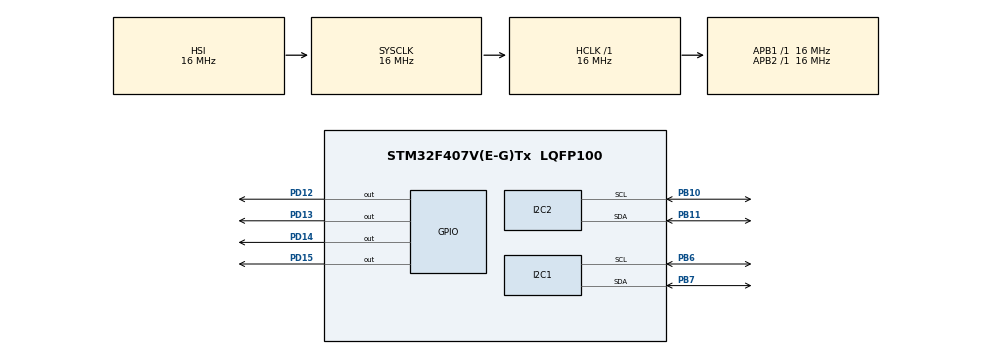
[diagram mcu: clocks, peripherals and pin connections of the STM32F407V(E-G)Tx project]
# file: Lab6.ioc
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I2C1.OwnAddress=0xfa
I2C2.OwnAddress=0xfa
Mcu.Family=STM32F4
Mcu.Name=STM32F407V(E-G)Tx
Mcu.Package=LQFP100
NVIC.PriorityGroup=NVIC_PRIORITYGROUP_4
PA13.Mode=Trace_Asynchronous_SW
PA13.Signal=SYS_JTMS-SWDIO
PA14.Mode=Trace_Asynchronous_SW
PA14.Signal=SYS_JTCK-SWCLK
PB10.GPIO_Pu=GPIO_PULLUP
PB10.Mode=I2C
PB10.Signal=I2C2_SCL
PB11.GPIO_Pu=GPIO_PULLUP
PB11.Mode=I2C
PB11.Signal=I2C2_SDA
PB3.Mode=Trace_Asynchronous_SW
PB3.Signal=SYS_JTDO-SWO
PB6.GPIO_Pu=GPIO_PULLUP
PB6.Mode=I2C
PB6.Signal=I2C1_SCL
PB7.GPIO_Pu=GPIO_PULLUP
PB7.Mode=I2C
PB7.Signal=I2C1_SDA
PD12.Signal=GPIO_Output
PD13.Signal=GPIO_Output
PD14.Signal=GPIO_Output
PD15.Signal=GPIO_Output
ProjectManager.HeapSize=0x200
ProjectManager.StackSize=0x400
ProjectManager.TargetToolchain=STM32CubeIDE
RCC.AHBFreq_Value=16000000
RCC.APB1Freq_Value=16000000
RCC.APB2Freq_Value=16000000
RCC.CortexFreq_Value=16000000
RCC.HSE_VALUE=25000000
RCC.HSI_VALUE=16000000
RCC.LSE_VALUE=32768
RCC.SYSCLKFreq_VALUE=16000000
RCC.VCOOutputFreq_Value=192000000
board=custom

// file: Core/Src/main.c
/* USER CODE BEGIN Header */
/**
  ******************************************************************************
  * @file           : main.c
  * @brief          : Main program body
  ******************************************************************************
  * @attention
  *
  * Copyright (c) 2024 STMicroelectronics.
  * All rights reserved.
  *
  * This software is licensed under terms that can be found in the LICENSE file
  * in the root directory of this software component.
  * If no LICENSE file comes with this software, it is provided AS-IS.
  *
  ******************************************************************************
  */
/* USER CODE END Header */
#include "main.h"

I2C_HandleTypeDef hi2c1;
I2C_HandleTypeDef hi2c2;

/* USER CODE BEGIN PV */
uint8_t rxData;
int uzdNr = 2;
uint8_t rxBuffer[3];
/* USER CODE END PV */

void SystemClock_Config(void);
static void MX_GPIO_Init(void);
static void MX_I2C2_Init(void);
static void MX_I2C1_Init(void);

int main(void)
{

  /* MCU Configuration--------------------------------------------------------*/

  /* Reset of all peripherals, Initializes the Flash interface and the Systick. */
  HAL_Init();

  /* Configure the system clock */
  SystemClock_Config();

  /* Initialize all configured peripherals */
  MX_GPIO_Init();
  MX_I2C2_Init();
  MX_I2C1_Init();

  /* Infinite loop */
  /* USER CODE BEGIN WHILE */
  while (1) {
	  if(uzdNr == 1){
		  if(HAL_I2C_Slave_Receive(&hi2c2, &rxData, 1, 10) == HAL_OK) {
			  HAL_GPIO_WritePin(GPIOD, GPIO_PIN_12, (rxData & 0x01) ? GPIO_PIN_SET : GPIO_PIN_RESET);
			  HAL_GPIO_WritePin(GPIOD, GPIO_PIN_13, (rxData & 0x02) ? GPIO_PIN_SET : GPIO_PIN_RESET);
			  HAL_GPIO_WritePin(GPIOD, GPIO_PIN_14, (rxData & 0x04) ? GPIO_PIN_SET : GPIO_PIN_RESET);
			  HAL_GPIO_WritePin(GPIOD, GPIO_PIN_15, (rxData & 0x08) ? GPIO_PIN_SET : GPIO_PIN_RESET);
			}
	  }else if(uzdNr == 2){
		  if(HAL_I2C_Slave_Receive(&hi2c1, rxBuffer, 3, 10) == HAL_OK) {
		      HAL_GPIO_WritePin(GPIOD, GPIO_PIN_12, (rxBuffer[0] & 0x01) ? GPIO_PIN_SET : GPIO_PIN_RESET);
		      HAL_GPIO_WritePin(GPIOD, GPIO_PIN_13, (rxBuffer[0] & 0x02) ? GPIO_PIN_SET : GPIO_PIN_RESET);

		      HAL_GPIO_WritePin(GPIOD, GPIO_PIN_14, (rxBuffer[1] & 0x01) ? GPIO_PIN_SET : GPIO_PIN_RESET);

		      HAL_GPIO_WritePin(GPIOD, GPIO_PIN_15, (rxBuffer[2] & 0x01) ? GPIO_PIN_SET : GPIO_PIN_RESET);
		  }

	  }
    /* USER CODE END WHILE */

  }
}

void SystemClock_Config(void)
{
  RCC_OscInitTypeDef RCC_OscInitStruct = {0};
  RCC_ClkInitTypeDef RCC_ClkInitStruct = {0};

  /** Configure the main internal regulator output voltage
  */
  __HAL_RCC_PWR_CLK_ENABLE();
  __HAL_PWR_VOLTAGESCALING_CONFIG(PWR_REGULATOR_VOLTAGE_SCALE1);

  /** Initializes the RCC Oscillators according to the specified parameters
  * in the RCC_OscInitTypeDef structure.
  */
  RCC_OscInitStruct.OscillatorType = RCC_OSCILLATORTYPE_HSI;
  RCC_OscInitStruct.HSIState = RCC_HSI_ON;
  RCC_OscInitStruct.HSICalibrationValue = RCC_HSICALIBRATION_DEFAULT;
  RCC_OscInitStruct.PLL.PLLState = RCC_PLL_NONE;
  if (HAL_RCC_OscConfig(&RCC_OscInitStruct) != HAL_OK)
  {
    Error_Handler();
  }

  /** Initializes the CPU, AHB and APB buses clocks
  */
  RCC_ClkInitStruct.ClockType = RCC_CLOCKTYPE_HCLK|RCC_CLOCKTYPE_SYSCLK
                              |RCC_CLOCKTYPE_PCLK1|RCC_CLOCKTYPE_PCLK2;
  RCC_ClkInitStruct.SYSCLKSource = RCC_SYSCLKSOURCE_HSI;
  RCC_ClkInitStruct.AHBCLKDivider = RCC_SYSCLK_DIV1;
  RCC_ClkInitStruct.APB1CLKDivider = RCC_HCLK_DIV1;
  RCC_ClkInitStruct.APB2CLKDivider = RCC_HCLK_DIV1;

  if (HAL_RCC_ClockConfig(&RCC_ClkInitStruct, FLASH_LATENCY_0) != HAL_OK)
  {
    Error_Handler();
  }
}

static void MX_I2C1_Init(void)
{

  hi2c1.Instance = I2C1;
  hi2c1.Init.ClockSpeed = 100000;
  hi2c1.Init.DutyCycle = I2C_DUTYCYCLE_2;
  hi2c1.Init.OwnAddress1 = 0xfa;
  hi2c1.Init.AddressingMode = I2C_ADDRESSINGMODE_7BIT;
  hi2c1.Init.DualAddressMode = I2C_DUALADDRESS_DISABLE;
  hi2c1.Init.OwnAddress2 = 0;
  hi2c1.Init.GeneralCallMode = I2C_GENERALCALL_DISABLE;
  hi2c1.Init.NoStretchMode = I2C_NOSTRETCH_DISABLE;
  if (HAL_I2C_Init(&hi2c1) != HAL_OK)
  {
    Error_Handler();
  }

}

static void MX_I2C2_Init(void)
{

  hi2c2.Instance = I2C2;
  hi2c2.Init.ClockSpeed = 100000;
  hi2c2.Init.DutyCycle = I2C_DUTYCYCLE_2;
  hi2c2.Init.OwnAddress1 = 0xfa;
  hi2c2.Init.AddressingMode = I2C_ADDRESSINGMODE_7BIT;
  hi2c2.Init.DualAddressMode = I2C_DUALADDRESS_DISABLE;
  hi2c2.Init.OwnAddress2 = 0;
  hi2c2.Init.GeneralCallMode = I2C_GENERALCALL_DISABLE;
  hi2c2.Init.NoStretchMode = I2C_NOSTRETCH_DISABLE;
  if (HAL_I2C_Init(&hi2c2) != HAL_OK)
  {
    Error_Handler();
  }

}

static void MX_GPIO_Init(void)
{
  GPIO_InitTypeDef GPIO_InitStruct = {0};

  /* GPIO Ports Clock Enable */
  __HAL_RCC_GPIOB_CLK_ENABLE();
  __HAL_RCC_GPIOD_CLK_ENABLE();
  __HAL_RCC_GPIOA_CLK_ENABLE();

  /*Configure GPIO pin Output Level */
  HAL_GPIO_WritePin(GPIOD, GPIO_PIN_12|GPIO_PIN_13|GPIO_PIN_14|GPIO_PIN_15, GPIO_PIN_RESET);

  /*Configure GPIO pins : PD12 PD13 PD14 PD15 */
  GPIO_InitStruct.Pin = GPIO_PIN_12|GPIO_PIN_13|GPIO_PIN_14|GPIO_PIN_15;
  GPIO_InitStruct.Mode = GPIO_MODE_OUTPUT_PP;
  GPIO_InitStruct.Pull = GPIO_NOPULL;
  GPIO_InitStruct.Speed = GPIO_SPEED_FREQ_LOW;
  HAL_GPIO_Init(GPIOD, &GPIO_InitStruct);

}

void Error_Handler(void)
{
  __disable_irq();
  while (1)
  {
  }
}
